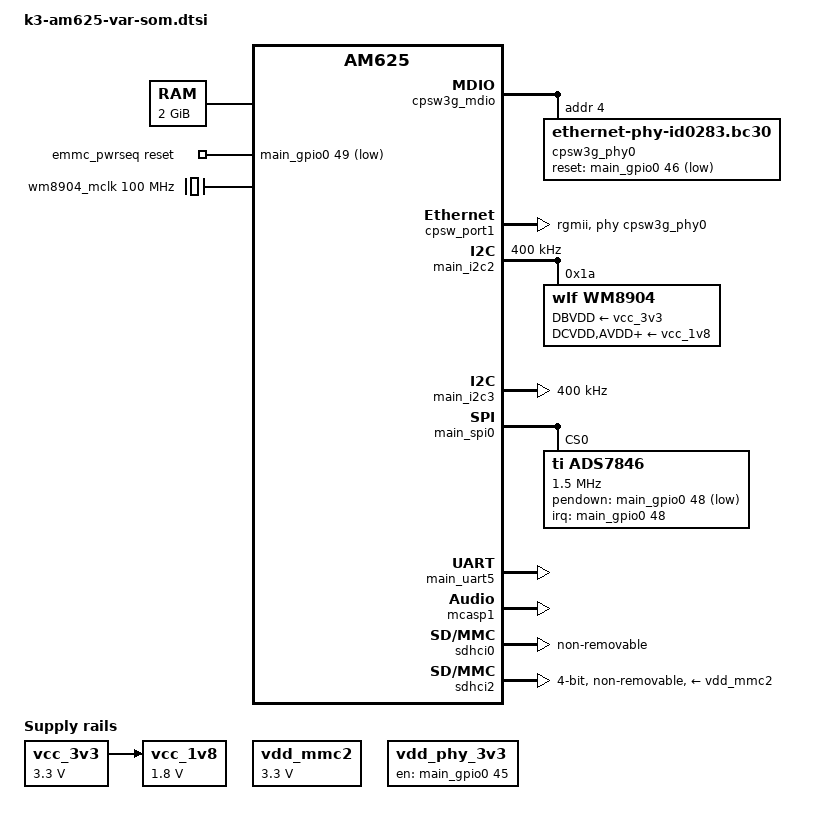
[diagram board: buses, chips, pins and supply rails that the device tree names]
// SPDX-License-Identifier: GPL-2.0
/*
 * VAR-SOM-AM62
 *
 * Copyright (C) 2021-2022 Texas Instruments Incorporated - https://www.ti.com/
 * Copyright (C) 2023 Variscite Ltd. - https://www.variscite.com/
 */

/dts-v1/;

#include <dt-bindings/gpio/gpio.h>
#include <dt-bindings/input/input.h>
#include <dt-bindings/leds/common.h>
#include <dt-bindings/pwm/pwm.h>
#include "k3-am625.dtsi"

/ {
	compatible = "variscite,am62x-var-som", "ti,am625";

	memory@80000000 {
		device_type = "memory";
		/* 2G RAM */
		reg = <0x00000000 0x80000000 0x00000000 0x80000000>;
	};

	opp-table {
		/* Add 1.4GHz OPP for am625-sk board. Requires VDD_CORE to be at 0.85V */
		opp-1400000000 {
			opp-hz = /bits/ 64 <1400000000>;
			opp-supported-hw = <0x01 0x0004>;
			clock-latency-ns = <6000000>;
		};
	};

	reserved-memory {
		#address-cells = <2>;
		#size-cells = <2>;
		ranges;

		rtos_ipc_memory_region: ipc-memories@9c800000 {
			compatible = "shared-dma-pool";
			reg = <0x00 0x9c800000 0x00 0x00300000>;
			no-map;
		};

		mcu_m4fss_dma_memory_region: m4f-dma-memory@9cb00000 {
			compatible = "shared-dma-pool";
			reg = <0x00 0x9cb00000 0x00 0x100000>;
			no-map;
		};

		mcu_m4fss_memory_region: m4f-memory@9cc00000 {
			compatible = "shared-dma-pool";
			reg = <0x00 0x9cc00000 0x00 0xe00000>;
			no-map;
		};

		wkup_r5fss0_core0_dma_memory_region: r5f-dma-memory@9da00000 {
			compatible = "shared-dma-pool";
			reg = <0x00 0x9da00000 0x00 0x00100000>;
			no-map;
		};

		wkup_r5fss0_core0_memory_region: r5f-memory@9db00000 {
			compatible = "shared-dma-pool";
			reg = <0x00 0x9db00000 0x00 0x00c00000>;
			no-map;
		};

		lpm_ctx_ddr: lpm-memory@9e700000 {
			reg = <0x00 0x9e700000 0x00 0x80000>;
			alignment = <0x1000>;
		};

		secure_tfa_ddr: tfa@9e780000 {
			reg = <0x00 0x9e780000 0x00 0x80000>;
			alignment = <0x1000>;
			no-map;
		};

		secure_ddr: optee@9e800000 {
			reg = <0x00 0x9e800000 0x00 0x01800000>; /* for OP-TEE */
			alignment = <0x1000>;
			no-map;
		};
	};

	emmc_pwrseq: pwrseq@0 {
		compatible = "mmc-pwrseq-emmc";
		pinctrl-names = "default";
		pinctrl-0 = <&emmc_pwrseq_pins>;
		reset-gpios = <&main_gpio0 49 GPIO_ACTIVE_LOW>;
	};

	vcc_3v3: vcc-3v3 {
		compatible = "regulator-fixed";
		regulator-name = "vcc_3v3";
		regulator-min-microvolt = <3300000>;
		regulator-max-microvolt = <3300000>;
		regulator-always-on;
		regulator-boot-on;
	};

	vcc_1v8: vcc-1v8 {
		compatible = "regulator-fixed";
		regulator-name = "vcc_1v8";
		regulator-min-microvolt = <1800000>;
		regulator-max-microvolt = <1800000>;
		vin-supply = <&vcc_3v3>;
		regulator-always-on;
		regulator-boot-on;
	};

	vdd_mmc2: vdd-wifi {
		pinctrl-names = "default";
		pinctrl-0 = <&vdd_mmc2_pins_default>;
		compatible = "regulator-fixed";
		regulator-name = "wifi_power";
		regulator-min-microvolt = <3300000>;
		regulator-max-microvolt = <3300000>;
		regulator-always-on;
		status="okay";
	};

	vdd_phy_3v3: regulator-8 {
		compatible = "regulator-fixed";
		regulator-name = "vdd_phy_3v3";
		gpios = <&main_gpio0 45 GPIO_ACTIVE_HIGH>;
		enable-active-high;
		regulator-always-on;
		status="okay";
	};

	sound-wm8904 {
		compatible = "simple-audio-card";
		simple-audio-card,bitclock-master = <&dailink_master>;
		simple-audio-card,format = "dsp_b";
		simple-audio-card,frame-master = <&dailink_master>;
		simple-audio-card,name = "wm8904-audio";
		simple-audio-card,routing =
			"Headphone Jack", "HPOUTL",
			"Headphone Jack", "HPOUTR",
			"IN2L", "Line In Jack",
			"IN2R", "Line In Jack",
			"IN1L", "Microphone Jack",
			"IN1R", "Microphone Jack";
		simple-audio-card,widgets =
			"Microphone", "Microphone Jack",
			"Headphone", "Headphone Jack",
			"Line", "Line In Jack";
		simple-audio-card,mclk-fs = <256>;

		dailink_master: simple-audio-card,codec {
			sound-dai = <&wm8904>;
		};

		simple-audio-card,cpu {
			sound-dai = <&mcasp1>;
		};
	};

	wm8904_mclk: clk-0 {
		#clock-cells = <0>;
		compatible = "fixed-clock";
		clock-frequency = <100000000>;
	};
};

&cpsw3g {
	pinctrl-names = "default";
	pinctrl-0 = <&main_mdio1_pins_default
		     &main_rgmii1_pins_default>;
};

&cpsw3g_mdio {
	cpsw3g_phy0: ethernet-phy@4 {
		reg = <4>;
		compatible = "ethernet-phy-id0283.bc30";
		reset-gpios = <&main_gpio0 46 1>;
		reset-assert-us = <10000>;
		reset-deassert-us = <20000>;
	};
};

&cpsw_port1 {
	phy-mode = "rgmii";
	phy-handle = <&cpsw3g_phy0>;
};

&main_i2c2 {
	pinctrl-names = "default";
	pinctrl-0 = <&main_i2c2_pins_default>;
	clock-frequency = <400000>;
	status = "okay";

	wm8904: audio-codec@1a {
		#sound-dai-cells = <0>;
		compatible = "wlf,wm8904";
		reg = <0x1a>;
		clocks = <&wm8904_mclk>;
		clock-names = "mclk";
		DBVDD-supply = <&vcc_3v3>;
		DCVDD-supply = <&vcc_1v8>;
		AVDD-supply = <&vcc_1v8>;
		CPVDD-supply = <&vcc_1v8>;
		MICVDD-supply = <&vcc_1v8>;
		num-drc-cfgs = <5>;
		drc-cfg-names = "default", "peaklimiter", "tradition", "soft", "music";
		drc-cfg-regs =
				/* coded default: KNEE_IP = KNEE_OP = 0, HI_COMP = LO_COMP = 1  */
				<0x01af 0x3248 0x0000 0x0000>,
				/* coded default: KNEE_IP = -24, KNEE_OP = -6, HI_COMP = 1/4, LO_COMP = 1 */
				<0x04af 0x324b 0x0010 0x0408>,
				/* coded default: KNEE_IP = -42, KNEE_OP = -3, HI_COMP = 0, LO_COMP = 1 */
				<0x04af 0x324b 0x0028 0x0704>,
				/* coded default: KNEE_IP = -45, KNEE_OP = -9, HI_COMP = 1/8, LO_COMP = 1 */
				<0x04af 0x324b 0x0018 0x078c>,
				/* coded default: KNEE_IP = -30, KNEE_OP = -10.5, HI_COMP = 1/4, LO_COMP = 1 */
				<0x04af 0x324b 0x0010 0x050e>;
		gpio-cfg = <
			0x0018 /* GPIO1 => DMIC_CLK */
			0xffff /* GPIO2 => don't touch */
			0xffff /* GPIO3 => don't touch */
			0xffff /* GPIO4 => don't touch */
		>;
		status = "okay";
	};
};

&main_i2c3 {
	pinctrl-names = "default";
	pinctrl-0 = <&main_i2c3_pins_default>;
	clock-frequency = <400000>;
	status = "okay";
};

&main_pmx0 {
	main_i2c2_pins_default: main-i2c2-pins-default {
		pinctrl-single,pins = <
			AM62X_IOPAD(0x0b0, PIN_INPUT_PULLUP, 1) /* (K22) GPMC0_CSn2.I2C2_SCL */
			AM62X_IOPAD(0x0b4, PIN_INPUT_PULLUP, 1) /* (K24) GPMC0_CSn3.I2C2_SDA */
		>;
	};

	main_i2c3_pins_default: main-i2c3-pins-default {
		pinctrl-single,pins = <
			AM62X_IOPAD(0x01d0, PIN_INPUT, 2) /* (A15) UART0_CTSn.I2C3_SCL */
			AM62X_IOPAD(0x01d4, PIN_INPUT, 2) /* (B15) UART0_RTSn.I2C3_SDA */
		>;
	};

	main_mcasp1_pins_default: main-mcasp1-pins-default {
		pinctrl-single,pins = <
			AM62X_IOPAD(0x0090, PIN_INPUT, 2) /* (M24) GPMC0_BE0N_CLE.MCASP1_ACLKX */
			AM62X_IOPAD(0x0098, PIN_INPUT, 2) /* (U23) GPMC0_WAIT0.MCASP1_AFSX */
			AM62X_IOPAD(0x008c, PIN_OUTPUT, 2) /* (L25) GPMC0_WEN.MCASP1_AXR0 */
			AM62X_IOPAD(0x0084, PIN_INPUT, 2) /* (L23) GPMC0_ADVN_ALE.MCASP1_AXR2 */
			AM62X_IOPAD(0x00a0, PIN_OUTPUT, 1) /* (K25) GPMC0_WPn.AUDIO_EXT_REFCLK1 */
		>;
	};

	main_mdio1_pins_default: main-mdio1-pins-default {
		pinctrl-single,pins = <
			AM62X_IOPAD(0x160, PIN_INPUT, 0) /* (AD24) MDIO0_MDC */
			AM62X_IOPAD(0x15c, PIN_INPUT, 0) /* (AB22) MDIO0_MDIO */
		>;
	};

	vdd_mmc2_pins_default: vdd-mmc2-pins-default {
		pinctrl-single,pins = <
			AM62X_IOPAD(0x00d8, PIN_OUTPUT, 7) /* (V21) VOUT0_DATA8.GPIO0_53 */
			AM62X_IOPAD(0x00dc, PIN_OUTPUT, 7) /* (W21) VOUT0_DATA9.GPIO0_54 */
			AM62X_IOPAD(0x00f0, PIN_OUTPUT, 7) /* (Y22) VOUT0_DATA14.GPIO0_59 */
			AM62X_IOPAD(0x00f4, PIN_OUTPUT, 7) /* (AA21) VOUT0_DATA15.GPIO0_60 */
		>;
	};

	main_mmc0_pins_default: main-mmc0-pins-default {
		pinctrl-single,pins = <
			AM62X_IOPAD(0x220, PIN_INPUT, 0) /* (Y3) MMC0_CMD */
			AM62X_IOPAD(0x218, PIN_INPUT, 0) /* (AB1) MMC0_CLK */
			AM62X_IOPAD(0x214, PIN_INPUT, 0) /* (AA2) MMC0_DAT0 */
			AM62X_IOPAD(0x210, PIN_INPUT, 0) /* (AA1) MMC0_DAT1 */
			AM62X_IOPAD(0x20c, PIN_INPUT, 0) /* (AA3) MMC0_DAT2 */
			AM62X_IOPAD(0x208, PIN_INPUT, 0) /* (Y4) MMC0_DAT3 */
			AM62X_IOPAD(0x204, PIN_INPUT, 0) /* (AB2) MMC0_DAT4 */
			AM62X_IOPAD(0x200, PIN_INPUT, 0) /* (AC1) MMC0_DAT5 */
			AM62X_IOPAD(0x1fc, PIN_INPUT, 0) /* (AD2) MMC0_DAT6 */
			AM62X_IOPAD(0x1f8, PIN_INPUT, 0) /* (AC2) MMC0_DAT7 */
		>;
	};

	emmc_pwrseq_pins: pinmux_emmc_pwrseq_pins {
		pinctrl-single,pins = <
			AM62X_IOPAD(0x00c8, PIN_OUTPUT, 7) /* (Y25) VOUT0_DATA4.GPIO0_49 */
		>;
	};

	main_mmc2_pins_default: main-mmc2-pins-default {
		pinctrl-single,pins = <
			AM62X_IOPAD(0x120, PIN_INPUT_PULLUP, 0) /* (C24) MMC2_CMD */
			AM62X_IOPAD(0x118, PIN_INPUT_PULLDOWN, 0) /* (D25) MMC2_CLK */
			AM62X_IOPAD(0x114, PIN_INPUT_PULLUP, 0) /* (B24) MMC2_DAT0 */
			AM62X_IOPAD(0x110, PIN_INPUT_PULLUP, 0) /* (C25) MMC2_DAT1 */
			AM62X_IOPAD(0x10c, PIN_INPUT_PULLUP, 0) /* (E23) MMC2_DAT2 */
			AM62X_IOPAD(0x108, PIN_INPUT_PULLUP, 0) /* (D24) MMC2_DAT3 */
			AM62X_IOPAD(0x11c, PIN_INPUT_PULLUP, 0) /* (#N/A) MMC2_CLKB */
		>;
	};

	pinctrl_restouch: restouchgrp {
		pinctrl-single,pins = <
			AM62X_IOPAD(0x00c4, PIN_INPUT_PULLUP, 7) /* (W24) VOUT0_DATA3.GPIO0_48 */
		>;
	};

	main_spi0_pins_default: main_spi0-pins-default {
		pinctrl-single,pins = <
			AM62X_IOPAD(0x01bc, PIN_OUTPUT, 0) /* (A14) SPI0_CLK */
			AM62X_IOPAD(0x01b4, PIN_OUTPUT, 0) /* (A13) SPI0_CS0 */
			AM62X_IOPAD(0x01c0, PIN_OUTPUT, 0) /* (B13) SPI0_D0 */
			AM62X_IOPAD(0x01c4, PIN_INPUT, 0) /* (B14) SPI0_D1 */
		>;
	};

	main_uart5_pins_default: uart5-pins-default {
		pinctrl-single,pins = <
			AM62X_IOPAD(0x00ec, PIN_INPUT, 4) /* (AA24) VOUT0_DATA13.UART5_CTSn */
			AM62X_IOPAD(0x00e8, PIN_OUTPUT, 4) /* (AB25) VOUT0_DATA12.UART5_RTSn */
			AM62X_IOPAD(0x00d0, PIN_INPUT, 4) /* (Y23) VOUT0_DATA6.UART5_RXD */
			AM62X_IOPAD(0x00d4, PIN_OUTPUT, 4) /* (AA25) VOUT0_DATA7.UART5_TXD */
		>;
	};

	main_rgmii1_pins_default: main-rmain-rgmii1-pins-defaultgmii1-pins-default {
		pinctrl-single,pins = <
			AM62X_IOPAD(0x14c, PIN_INPUT, 0) /* (AB17) RGMII1_RD0 */
			AM62X_IOPAD(0x150, PIN_INPUT, 0) /* (AC17) RGMII1_RD1 */
			AM62X_IOPAD(0x154, PIN_INPUT, 0) /* (AB16) RGMII1_RD2 */
			AM62X_IOPAD(0x158, PIN_INPUT, 0) /* (AA15) RGMII1_RD3 */
			AM62X_IOPAD(0x148, PIN_INPUT, 0) /* (AD17) RGMII1_RXC */
			AM62X_IOPAD(0x144, PIN_INPUT, 0) /* (AE17) RGMII1_RX_CTL */
			AM62X_IOPAD(0x134, PIN_INPUT, 0) /* (AE20) RGMII1_TD0 */
			AM62X_IOPAD(0x138, PIN_INPUT, 0) /* (AD20) RGMII1_TD1 */
			AM62X_IOPAD(0x13c, PIN_INPUT, 0) /* (AE18) RGMII1_TD2 */
			AM62X_IOPAD(0x140, PIN_INPUT, 0) /* (AD18) RGMII1_TD3 */
			AM62X_IOPAD(0x130, PIN_INPUT, 0) /* (AE19) RGMII1_TXC */
			AM62X_IOPAD(0x12c, PIN_INPUT, 0) /* (AD19) RGMII1_TX_CTL */
			AM62X_IOPAD(0x00bc, PIN_INPUT, 7) /* (V24) VOUT0_DATA1.GPIO0_46 */
			AM62X_IOPAD(0x00b8, PIN_INPUT, 7) /* (U22) VOUT0_DATA0.GPIO0_45 */
		>;
	};
};

&main_spi0 {
	pinctrl-names = "default";
	pinctrl-0 = <&main_spi0_pins_default>;
	ti,pindir-d0-out-d1-in = <1>;

	/* Resistive touch controller */
	ads7846@0 {
		compatible = "ti,ads7846";
		reg = <0>;
		pinctrl-names = "default";
		pinctrl-0 = <&pinctrl_restouch>;
		interrupt-parent = <&main_gpio0>;
		interrupts = <48 IRQ_TYPE_EDGE_FALLING>;
		spi-max-frequency = <1500000>;
		pendown-gpio = <&main_gpio0 48 GPIO_ACTIVE_LOW>;
		ti,x-min = /bits/ 16 <125>;
		ti,x-max = /bits/ 16 <4008>;
		ti,y-min = /bits/ 16 <282>;
		ti,y-max = /bits/ 16 <3864>;
		ti,x-plate-ohms = /bits/ 16 <180>;
		ti,pressure-max = /bits/ 16 <255>;
		ti,debounce-max = /bits/ 16 <10>;
		ti,debounce-tol = /bits/ 16 <3>;
		ti,debounce-rep = /bits/ 16 <1>;
		ti,settle-delay-usec = /bits/ 16 <150>;
		ti,keep-vref-on;
		wakeup-source;
		status = "okay";
	};
};

&main_uart5 {
	pinctrl-names = "default";
	pinctrl-0 = <&main_uart5_pins_default>;
	uart-has-rtscts;
	status = "okay";
};

&mcasp0 {
	status = "disabled";
};

&mcasp1 {
	status = "okay";
	#sound-dai-cells = <0>;

	pinctrl-names = "default";
	pinctrl-0 = <&main_mcasp1_pins_default>;

	op-mode = <0>;          /* MCASP_IIS_MODE */
	tdm-slots = <2>;

	serial-dir = <  /* 0: INACTIVE, 1: TX, 2: RX */
	       1 0 2 0
	       0 0 0 0
	       0 0 0 0
	       0 0 0 0
	>;
	tx-num-evt = <32>;
	rx-num-evt = <32>;
};

&mcasp2 {
	status = "disabled";
};

&mcu_pmx0 {
	wkup_clkout0_pins_default: wkup_clkout0_pins_default {
		pinctrl-single,pins = <
			AM62X_MCU_IOPAD(0x0084, PIN_OUTPUT, 0) /* (A12) WKUP_CLKOUT0 */
		>;
	};
};

/* eMMC */
&sdhci0 {
	pinctrl-names = "default";
	pinctrl-0 = <&main_mmc0_pins_default>;
	ti,driver-strength-ohm = <50>;
	mmc-pwrseq = <&emmc_pwrseq>;
	non-removable;
	disable-wp;
	status="okay";
};

/* Wi-Fi */
&sdhci2 {
	assigned-clocks = <&k3_clks 157 158>; /* wkup_clkout_sel_out0 */
	assigned-clock-parents = <&k3_clks 157 164>; /* clk_32k_rc_sel_out0 */
	vmmc-supply = <&vdd_mmc2>;
	pinctrl-names = "default";
	pinctrl-0 = <&main_mmc2_pins_default>, <&wkup_clkout0_pins_default>;
	bus-width = <4>;
	disable-wp;
	ti,driver-strength-ohm = <50>;
	status="okay";
	ti,fails-without-test-cd;
	non-removable;
};
